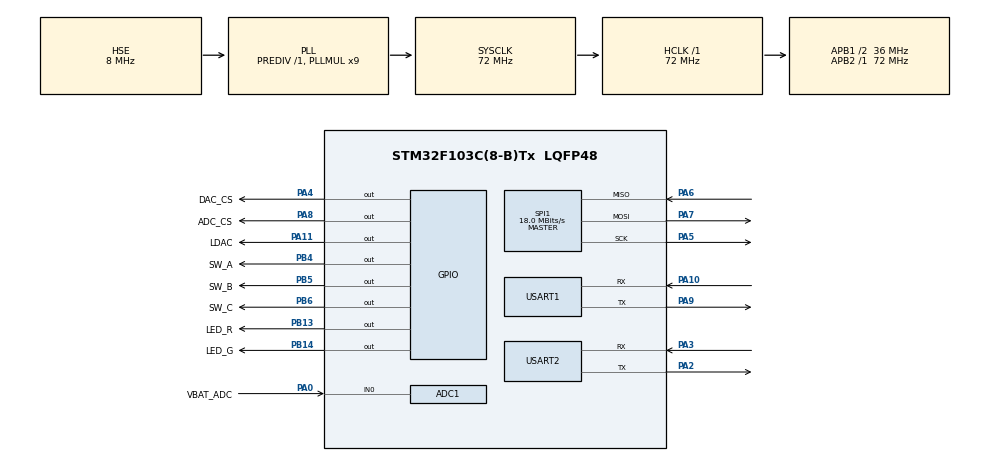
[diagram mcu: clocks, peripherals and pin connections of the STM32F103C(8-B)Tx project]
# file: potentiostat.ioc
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ADC1.Channel-0\#ChannelRegularConversion=ADC_CHANNEL_0
ADC1.ContinuousConvMode=DISABLE
ADC1.NbrOfConversionFlag=1
ADC1.Rank-0\#ChannelRegularConversion=1
ADC1.SamplingTime-0\#ChannelRegularConversion=ADC_SAMPLETIME_1CYCLE_5
ADC1.master=1
Dma.Request0=USART2_RX
Dma.USART2_RX.0.Direction=DMA_PERIPH_TO_MEMORY
Dma.USART2_RX.0.Instance=DMA1_Channel6
Dma.USART2_RX.0.MemDataAlignment=DMA_MDATAALIGN_BYTE
Dma.USART2_RX.0.MemInc=DMA_MINC_ENABLE
Dma.USART2_RX.0.Mode=DMA_NORMAL
Dma.USART2_RX.0.PeriphDataAlignment=DMA_PDATAALIGN_BYTE
Dma.USART2_RX.0.PeriphInc=DMA_PINC_DISABLE
Dma.USART2_RX.0.Priority=DMA_PRIORITY_LOW
Mcu.Family=STM32F1
Mcu.Name=STM32F103C(8-B)Tx
Mcu.Package=LQFP48
NVIC.DMA1_Channel6_IRQn=true\:0\:0\:false\:false\:true\:false\:true\:true
NVIC.PriorityGroup=NVIC_PRIORITYGROUP_4
NVIC.SPI1_IRQn=true\:1\:0\:true\:false\:true\:true\:true\:true
NVIC.USART2_IRQn=true\:1\:0\:true\:false\:true\:true\:true\:true
PA0-WKUP.GPIO_Label=VBAT_ADC
PA0-WKUP.Signal=ADCx_IN0
PA10.Mode=Asynchronous
PA10.Signal=USART1_RX
PA11.GPIO_Label=LDAC
PA11.Signal=GPIO_Output
PA13.Mode=Serial_Wire
PA13.Signal=SYS_JTMS-SWDIO
PA14.Mode=Serial_Wire
PA14.Signal=SYS_JTCK-SWCLK
PA2.Mode=Asynchronous
PA2.Signal=USART2_TX
PA3.Mode=Asynchronous
PA3.Signal=USART2_RX
PA4.GPIO_Label=DAC_CS
PA4.Signal=GPIO_Output
PA5.Mode=Full_Duplex_Master
PA5.Signal=SPI1_SCK
PA6.Mode=Full_Duplex_Master
PA6.Signal=SPI1_MISO
PA7.Mode=Full_Duplex_Master
PA7.Signal=SPI1_MOSI
PA8.GPIO_Label=ADC_CS
PA8.Signal=GPIO_Output
PA9.Mode=Asynchronous
PA9.Signal=USART1_TX
PB13.GPIO_Label=LED_R
PB13.Signal=GPIO_Output
PB14.GPIO_Label=LED_G
PB14.Signal=GPIO_Output
PB4.GPIO_Label=SW_A
PB4.Signal=GPIO_Output
PB5.GPIO_Label=SW_B
PB5.Signal=GPIO_Output
PB6.GPIO_Label=SW_C
PB6.Signal=GPIO_Output
PD0-OSC_IN.Mode=HSE-External-Oscillator
PD0-OSC_IN.Signal=RCC_OSC_IN
PD1-OSC_OUT.Mode=HSE-External-Oscillator
PD1-OSC_OUT.Signal=RCC_OSC_OUT
ProjectManager.HeapSize=0x200
ProjectManager.StackSize=0x400
ProjectManager.TargetToolchain=STM32CubeIDE
RCC.ADCPresc=RCC_ADCPCLK2_DIV6
RCC.AHBFreq_Value=72000000
RCC.APB1CLKDivider=RCC_HCLK_DIV2
RCC.APB1Freq_Value=36000000
RCC.APB1TimFreq_Value=72000000
RCC.APB2Freq_Value=72000000
RCC.APB2TimFreq_Value=72000000
RCC.HCLKFreq_Value=72000000
RCC.PLLMUL=RCC_PLL_MUL9
RCC.PLLSourceVirtual=RCC_PLLSOURCE_HSE
RCC.SYSCLKFreq_VALUE=72000000
RCC.SYSCLKSource=RCC_SYSCLKSOURCE_PLLCLK
RCC.USBFreq_Value=72000000
SH.ADCx_IN0.0=ADC1_IN0,IN0
SPI1.BaudRatePrescaler=SPI_BAUDRATEPRESCALER_4
SPI1.CalculateBaudRate=18.0 MBits/s
SPI1.Direction=SPI_DIRECTION_2LINES
SPI1.Mode=SPI_MODE_MASTER
SPI1.VirtualType=VM_MASTER
USART1.VirtualMode=VM_ASYNC
USART2.VirtualMode=VM_ASYNC
board=custom

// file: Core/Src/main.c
/* USER CODE BEGIN Header */
/**
  ******************************************************************************
  * @file           : main.c
  * @brief          : Main program body
  ******************************************************************************
  * @attention
  *
  * Copyright (c) 2024 STMicroelectronics.
  * All rights reserved.
  *
  * This software is licensed under terms that can be found in the LICENSE file
  * in the root directory of this software component.
  * If no LICENSE file comes with this software, it is provided AS-IS.
  *
  ******************************************************************************
  */
/* USER CODE END Header */
#include "main.h"

/* USER CODE BEGIN Includes */
#include "log.h"
#include "stimer.h"
#include "common_user.h"
/* USER CODE END Includes */

ADC_HandleTypeDef hadc1;

SPI_HandleTypeDef hspi1;

UART_HandleTypeDef huart1;
UART_HandleTypeDef huart2;
DMA_HandleTypeDef hdma_usart2_rx;

/* USER CODE BEGIN PV */
extern DAC_DeviceTypes_t dev1;
extern ADC_DeviceTypes_t dev2;

extern char txBuffer[512];
extern char rxBuffer[512];

extern systemHandle_t systemHandle;
extern deviceInfo_obj_t deviceInfo_t;
configInfo_obj_t configInfo_t = {0};

measureData_t measureData = {0};
double collect_volt = 0;
uint16_t adc_value = 0;
uint16_t adc_value1 = 0;
volatile uint8_t scan_direction = 1; // 1 for forward, 0 for reverse
volatile uint8_t current_cycle = 0;
double Vref = 5.12;

uint16_t adc_pin_value = 0;
float volt_pin = 0;

/* USER CODE END PV */

void SystemClock_Config(void);
static void MX_GPIO_Init(void);
static void MX_DMA_Init(void);
static void MX_USART2_UART_Init(void);
static void MX_ADC1_Init(void);
static void MX_SPI1_Init(void);
static void MX_USART1_UART_Init(void);
/* USER CODE BEGIN PFP */
extern void appMeasureInit(void);
extern void Config_dev(configInfo_obj_t *configInfo_t);
/* USER CODE END PFP */

/* USER CODE BEGIN 0 */
#ifdef __GNUC__
int __io_putchar(int ch)
#else
int fputc(int ch, FILE *f)
#endif /* __GNUC__ */
{
  HAL_UART_Transmit(&huart1, (uint8_t *)&ch, 1, 1);
  return ch;
}

/* USER CODE END 0 */

int main(void)
{

  /* MCU Configuration--------------------------------------------------------*/

  /* Reset of all peripherals, Initializes the Flash interface and the Systick. */
  HAL_Init();

  /* Configure the system clock */
  SystemClock_Config();

  /* Initialize all configured peripherals */
  MX_GPIO_Init();
  MX_DMA_Init();
  MX_USART2_UART_Init();
  MX_ADC1_Init();
  MX_SPI1_Init();
  MX_USART1_UART_Init();
  /* USER CODE BEGIN 2 */
  appMeasureInit();

  Logi("START DEVICE");

  /* USER CODE END 2 */

  /* Infinite loop */
  while (1)
  {

    /* USER CODE BEGIN 3 */
	  if(systemHandle.devCfg == true){

		  HAL_GPIO_TogglePin(LED_G_GPIO_Port, LED_G_Pin);
		  HAL_GPIO_WritePin(LED_R_GPIO_Port, LED_R_Pin, 1);
		  HAL_ADC_Start(&hadc1);
		  HAL_ADC_PollForConversion(&hadc1, 1000);
		  adc_pin_value = HAL_ADC_GetValue(&hadc1);
		  volt_pin = 4.0/3*(3.3*adc_pin_value)/4095;
		  HAL_ADC_Stop(&hadc1);
		  // Logic cho chế độ quét CV
		  if (deviceInfo_t.mode_dev == 2) {
		  	// Logic cho chế độ quét CV

		  	// Gửi điện áp đến DAC
		  	AD5441A_SetVotage(&dev1, 2.5 - deviceInfo_t.current_volt + 0.2);
		  	measureData.potential = deviceInfo_t.current_volt*1000;
		  	HAL_Delay(125);
		  	adc_value = AD4008_single_conversion(&dev2, adc_value);

		  	// Chuyển đổi giá trị ADC sang giá trị áp dụng(V)
		  	collect_volt = (adc_value*Vref / 65536);

		  	if(deviceInfo_t.res_dev == 1){
		  		measureData.current = (2.5-collect_volt)*1000.0/1500.0;
		  	} else if (deviceInfo_t.res_dev == 2) {
		  		measureData.current = (2.5-collect_volt)*1000000.0/14600.0;
		  	} else if (deviceInfo_t.res_dev == 3) {
		  		measureData.current = (2.5-collect_volt)*1000000000/2000000.0;
		  	}
		  	// �?i�?u chỉnh điện áp cho bước tiếp theo
		  	if (scan_direction == 1) {
		  		deviceInfo_t.current_volt += deviceInfo_t.step_volt;
		  		if (deviceInfo_t.current_volt > deviceInfo_t.target_volt - 0.0001) {
		  			scan_direction = 0; // �?ảo chi�?u quét
		  		}
		  	} else if(scan_direction == 0){
		  			deviceInfo_t.current_volt -= deviceInfo_t.step_volt;
		  			if (deviceInfo_t.current_volt < deviceInfo_t.start_volt + 0.0001) {
		  				scan_direction = 1; // �?ảo chi�?u quét
		  				current_cycle++;
		  					if (current_cycle >= deviceInfo_t.num_cycle) {
								// �?ã hoàn thành tất cả các chu kỳ, dừng Timer
								systemHandle.devCfg = false;
								systemHandle.startDev = false;
								configInfo_t.config_done = false;
								current_cycle =0;
		  					}
		  				}
		  			}
		 }

		  // Logic cho chế độ quét LSV
		  else if (deviceInfo_t.mode_dev == 1) {
			  // Logic cho chế độ quét LSV

			  // Gửi điện áp đến DAC
			  AD5441A_SetVotage(&dev1, 2.5 - deviceInfo_t.current_volt + 0.2);
			  measureData.potential = deviceInfo_t.current_volt*1000;
			  HAL_Delay(125);
			  adc_value = AD4008_single_conversion(&dev2, adc_value);

			  // Chuyển đổi giá trị ADC sang giá trị áp dụng(V)
			  collect_volt = (adc_value*Vref / 65536);

			  if(deviceInfo_t.res_dev == 1){
				  measureData.current = (2.5-collect_volt)*1000.0/1500.0;
			  } else if (deviceInfo_t.res_dev == 2) {
				  measureData.current = (2.5-collect_volt)*1000000.0/14600.0;
			  } else if (deviceInfo_t.res_dev == 3) {
				  measureData.current = (2.5-collect_volt)*1000000000/2000000.0;
			  }
			  // Tăng điện áp
			  deviceInfo_t.current_volt += deviceInfo_t.step_volt;
			  if (deviceInfo_t.current_volt > deviceInfo_t.target_volt*1.0001) {
				  // �?ã đạt điện thế kết thúc, dừng quét
				  systemHandle.devCfg = false;
				  configInfo_t.config_done = false;
				  systemHandle.startDev = false;
				  current_cycle = 0;
			  }

		  }
		  sprintf(txBuffer, "{\"start\":%d,\"potential\":%d,\"current\":%d}", systemHandle.startDev, (int)round(measureData.potential),(int)round(measureData.current*100));
//		  Logi("%s", txBuffer);
		  Logi("VRE-VWE:%.3f - Current:%.5f - VOLT_ADC:%.5f - VOLT_PIN:%d", measureData.potential, measureData.current,collect_volt,adc_pin_value);
		  HAL_UART_Transmit(&huart2, (uint8_t *)txBuffer, strlen(txBuffer), 1000);
		  HAL_Delay(875);
	  }
	  else {
			adc_value1 = AD4008_single_conversion(&dev2, adc_value1);
//			Logi("VRE-VWE:%.3f - Current:%.5f - VOLT_ADC:%.5f", measureData.potential, (2.5 - (adc_value1*Vref / 65536))*1000000.0/14600.0,collect_volt);
		  	HAL_GPIO_WritePin(LED_G_GPIO_Port, LED_G_Pin, 1);
		  	HAL_GPIO_WritePin(LED_R_GPIO_Port, LED_R_Pin, 0);
		#ifndef TEST
		  	HAL_Delay(150);
			HAL_UART_Transmit(&huart2, (uint8_t *)("$"), 1, 1000);
			HAL_UARTEx_ReceiveToIdle_DMA(&huart2, (uint8_t *)rxBuffer, sizeof(rxBuffer));
			__HAL_DMA_DISABLE_IT(&hdma_usart2_rx, DMA_IT_HT);
		  while(!(systemHandle.devCfg == true))
		  {

			  if (systemHandle.rxBufAvai == true)
			  {
				  if (!strcmp(rxBuffer, "GATT_Connected"))
					{
						Logi("%s", rxBuffer);
						memset(rxBuffer, 0 , sizeof(rxBuffer));
					}
				  else if (strstr(rxBuffer , "{") != NULL) {
						configInfo_t.config_done = false;
						Logi("%s", rxBuffer);
						uart_parse_data(rxBuffer, &configInfo_t);
						Config_dev(&configInfo_t);
						memset(rxBuffer, 0 , sizeof(rxBuffer));
					}
				  else if (strstr(rxBuffer, "Start_device") != NULL)
				  {
					  if(configInfo_t.config_done == true){
						  systemHandle.devCfg = true;
						  systemHandle.startDev = true;
					  }

					  Logi("%s", rxBuffer);
					  Logi("Start %s Scan", configInfo_t.mode_device);

				  }
				  memset(rxBuffer, 0 , sizeof(rxBuffer));
				  HAL_UARTEx_ReceiveToIdle_DMA(&huart2, (uint8_t *)rxBuffer, sizeof(rxBuffer));
				  __HAL_DMA_DISABLE_IT(&hdma_usart2_rx, DMA_IT_HT);
				  systemHandle.rxBufAvai = false;
			  }
		  }
		  memset(rxBuffer, 0 , sizeof(rxBuffer));
		  HAL_UARTEx_ReceiveToIdle_DMA(&huart2, (uint8_t *)rxBuffer, sizeof(rxBuffer));
		  __HAL_DMA_DISABLE_IT(&hdma_usart2_rx, DMA_IT_HT);
		#endif
	  }
}
  /* USER CODE END 3 */
}

void SystemClock_Config(void)
{
  RCC_OscInitTypeDef RCC_OscInitStruct = {0};
  RCC_ClkInitTypeDef RCC_ClkInitStruct = {0};
  RCC_PeriphCLKInitTypeDef PeriphClkInit = {0};

  /** Initializes the RCC Oscillators according to the specified parameters
  * in the RCC_OscInitTypeDef structure.
  */
  RCC_OscInitStruct.OscillatorType = RCC_OSCILLATORTYPE_HSE;
  RCC_OscInitStruct.HSEState = RCC_HSE_ON;
  RCC_OscInitStruct.HSEPredivValue = RCC_HSE_PREDIV_DIV1;
  RCC_OscInitStruct.HSIState = RCC_HSI_ON;
  RCC_OscInitStruct.PLL.PLLState = RCC_PLL_ON;
  RCC_OscInitStruct.PLL.PLLSource = RCC_PLLSOURCE_HSE;
  RCC_OscInitStruct.PLL.PLLMUL = RCC_PLL_MUL9;
  if (HAL_RCC_OscConfig(&RCC_OscInitStruct) != HAL_OK)
  {
    Error_Handler();
  }

  /** Initializes the CPU, AHB and APB buses clocks
  */
  RCC_ClkInitStruct.ClockType = RCC_CLOCKTYPE_HCLK|RCC_CLOCKTYPE_SYSCLK
                              |RCC_CLOCKTYPE_PCLK1|RCC_CLOCKTYPE_PCLK2;
  RCC_ClkInitStruct.SYSCLKSource = RCC_SYSCLKSOURCE_PLLCLK;
  RCC_ClkInitStruct.AHBCLKDivider = RCC_SYSCLK_DIV1;
  RCC_ClkInitStruct.APB1CLKDivider = RCC_HCLK_DIV2;
  RCC_ClkInitStruct.APB2CLKDivider = RCC_HCLK_DIV1;

  if (HAL_RCC_ClockConfig(&RCC_ClkInitStruct, FLASH_LATENCY_2) != HAL_OK)
  {
    Error_Handler();
  }
  PeriphClkInit.PeriphClockSelection = RCC_PERIPHCLK_ADC;
  PeriphClkInit.AdcClockSelection = RCC_ADCPCLK2_DIV6;
  if (HAL_RCCEx_PeriphCLKConfig(&PeriphClkInit) != HAL_OK)
  {
    Error_Handler();
  }
}

static void MX_ADC1_Init(void)
{

  ADC_ChannelConfTypeDef sConfig = {0};

  /** Common config
  */
  hadc1.Instance = ADC1;
  hadc1.Init.ScanConvMode = ADC_SCAN_DISABLE;
  hadc1.Init.ContinuousConvMode = DISABLE;
  hadc1.Init.DiscontinuousConvMode = DISABLE;
  hadc1.Init.ExternalTrigConv = ADC_SOFTWARE_START;
  hadc1.Init.DataAlign = ADC_DATAALIGN_RIGHT;
  hadc1.Init.NbrOfConversion = 1;
  if (HAL_ADC_Init(&hadc1) != HAL_OK)
  {
    Error_Handler();
  }

  /** Configure Regular Channel
  */
  sConfig.Channel = ADC_CHANNEL_0;
  sConfig.Rank = ADC_REGULAR_RANK_1;
  sConfig.SamplingTime = ADC_SAMPLETIME_1CYCLE_5;
  if (HAL_ADC_ConfigChannel(&hadc1, &sConfig) != HAL_OK)
  {
    Error_Handler();
  }

}

static void MX_SPI1_Init(void)
{

  /* SPI1 parameter configuration*/
  hspi1.Instance = SPI1;
  hspi1.Init.Mode = SPI_MODE_MASTER;
  hspi1.Init.Direction = SPI_DIRECTION_2LINES;
  hspi1.Init.DataSize = SPI_DATASIZE_8BIT;
  hspi1.Init.CLKPolarity = SPI_POLARITY_LOW;
  hspi1.Init.CLKPhase = SPI_PHASE_1EDGE;
  hspi1.Init.NSS = SPI_NSS_SOFT;
  hspi1.Init.BaudRatePrescaler = SPI_BAUDRATEPRESCALER_4;
  hspi1.Init.FirstBit = SPI_FIRSTBIT_MSB;
  hspi1.Init.TIMode = SPI_TIMODE_DISABLE;
  hspi1.Init.CRCCalculation = SPI_CRCCALCULATION_DISABLE;
  hspi1.Init.CRCPolynomial = 10;
  if (HAL_SPI_Init(&hspi1) != HAL_OK)
  {
    Error_Handler();
  }

}

static void MX_USART1_UART_Init(void)
{

  huart1.Instance = USART1;
  huart1.Init.BaudRate = 115200;
  huart1.Init.WordLength = UART_WORDLENGTH_8B;
  huart1.Init.StopBits = UART_STOPBITS_1;
  huart1.Init.Parity = UART_PARITY_NONE;
  huart1.Init.Mode = UART_MODE_TX_RX;
  huart1.Init.HwFlowCtl = UART_HWCONTROL_NONE;
  huart1.Init.OverSampling = UART_OVERSAMPLING_16;
  if (HAL_UART_Init(&huart1) != HAL_OK)
  {
    Error_Handler();
  }

}

static void MX_USART2_UART_Init(void)
{

  huart2.Instance = USART2;
  huart2.Init.BaudRate = 115200;
  huart2.Init.WordLength = UART_WORDLENGTH_8B;
  huart2.Init.StopBits = UART_STOPBITS_1;
  huart2.Init.Parity = UART_PARITY_NONE;
  huart2.Init.Mode = UART_MODE_TX_RX;
  huart2.Init.HwFlowCtl = UART_HWCONTROL_NONE;
  huart2.Init.OverSampling = UART_OVERSAMPLING_16;
  if (HAL_UART_Init(&huart2) != HAL_OK)
  {
    Error_Handler();
  }

}

static void MX_DMA_Init(void)
{

  /* DMA controller clock enable */
  __HAL_RCC_DMA1_CLK_ENABLE();

  /* DMA interrupt init */
  /* DMA1_Channel6_IRQn interrupt configuration */
  HAL_NVIC_SetPriority(DMA1_Channel6_IRQn, 0, 0);
  HAL_NVIC_EnableIRQ(DMA1_Channel6_IRQn);

}

static void MX_GPIO_Init(void)
{
  GPIO_InitTypeDef GPIO_InitStruct = {0};

  /* GPIO Ports Clock Enable */
  __HAL_RCC_GPIOD_CLK_ENABLE();
  __HAL_RCC_GPIOA_CLK_ENABLE();
  __HAL_RCC_GPIOB_CLK_ENABLE();

  /*Configure GPIO pin Output Level */
  HAL_GPIO_WritePin(GPIOA, DAC_CS_Pin|ADC_CS_Pin|LDAC_Pin, GPIO_PIN_RESET);

  /*Configure GPIO pin Output Level */
  HAL_GPIO_WritePin(GPIOB, LED_R_Pin|LED_G_Pin|SW_A_Pin|SW_B_Pin
                          |SW_C_Pin, GPIO_PIN_RESET);

  /*Configure GPIO pins : DAC_CS_Pin ADC_CS_Pin LDAC_Pin */
  GPIO_InitStruct.Pin = DAC_CS_Pin|ADC_CS_Pin|LDAC_Pin;
  GPIO_InitStruct.Mode = GPIO_MODE_OUTPUT_PP;
  GPIO_InitStruct.Pull = GPIO_NOPULL;
  GPIO_InitStruct.Speed = GPIO_SPEED_FREQ_LOW;
  HAL_GPIO_Init(GPIOA, &GPIO_InitStruct);

  /*Configure GPIO pins : LED_R_Pin LED_G_Pin SW_A_Pin SW_B_Pin
                           SW_C_Pin */
  GPIO_InitStruct.Pin = LED_R_Pin|LED_G_Pin|SW_A_Pin|SW_B_Pin
                          |SW_C_Pin;
  GPIO_InitStruct.Mode = GPIO_MODE_OUTPUT_PP;
  GPIO_InitStruct.Pull = GPIO_NOPULL;
  GPIO_InitStruct.Speed = GPIO_SPEED_FREQ_LOW;
  HAL_GPIO_Init(GPIOB, &GPIO_InitStruct);

}

void Error_Handler(void)
{
  __disable_irq();
  while (1)
  {
  }
}
